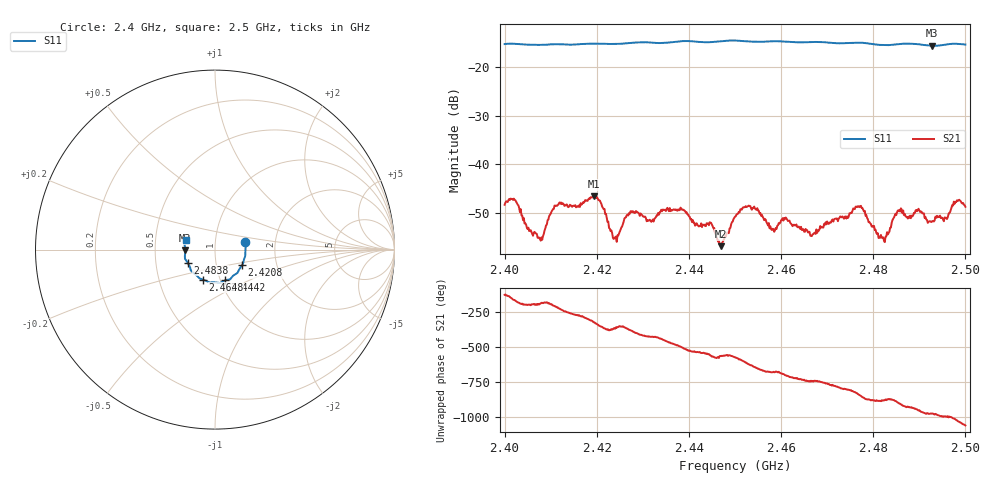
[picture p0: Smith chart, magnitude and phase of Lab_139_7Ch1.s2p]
# Hz S RI R 50
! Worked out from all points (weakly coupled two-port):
!   601 points, 2.4 GHz to 2.5 GHz, reference 50 ohm
!   highest |S21| = -46.62 dB at 2.4193 GHz (marker M1); lowest = -56.9 dB at 2.447 GHz (marker M2)
!   lowest |S11| = -15.6 dB at 2.4928 GHz (marker M3), VSWR 1.40, Z = 35.8 - j0.347 ohm
!   |S11| at or under -10 dB: start of sweep to end of sweep
!   S12 and S22 are empty: the file has one direction only
!   S11 on the Smith chart (normalised r, x): 2.4 GHz: 1.40, +0.12; 2.4208 GHz: 1.33, -0.24; 2.4442 GHz: 1.05, -0.37; 2.4648 GHz: 0.83, -0.28; 2.4838 GHz: 0.73, -0.11; 2.5 GHz: 0.72, +0.08
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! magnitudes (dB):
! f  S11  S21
! 2.4 GHz  -15.3  -48.3
! 2.4022 GHz  -15.2  -47.3
! 2.4077 GHz  -15.4  -55.4
! 2.4113 GHz  -15.3  -48.6
! 2.4167 GHz  -15.2  -48.3
! 2.4193 GHz  -15.2  -46.6
! 2.4208 GHz  -15.2  -47.8
! 2.424 GHz  -15.2  -55.3
! 2.4275 GHz  -15.0  -49.7
! 2.4333 GHz  -15.0  -50.0
! 2.4442 GHz  -14.9  -52.2
! 2.447 GHz  -14.7  -56.9
! 2.45 GHz  -14.5  -50.8
! 2.4528 GHz  -14.7  -48.6
! 2.4648 GHz  -14.9  -53.4
! 2.4667 GHz  -14.8  -54.8
! 2.4768 GHz  -15.0  -48.7
! 2.4833 GHz  -15.5  -54.2
! 2.4838 GHz  -15.4  -53.0
! 2.4857 GHz  -15.2  -49.5
! 2.4928 GHz  -15.6  -51.7
! 2.5 GHz  -15.4  -48.8
